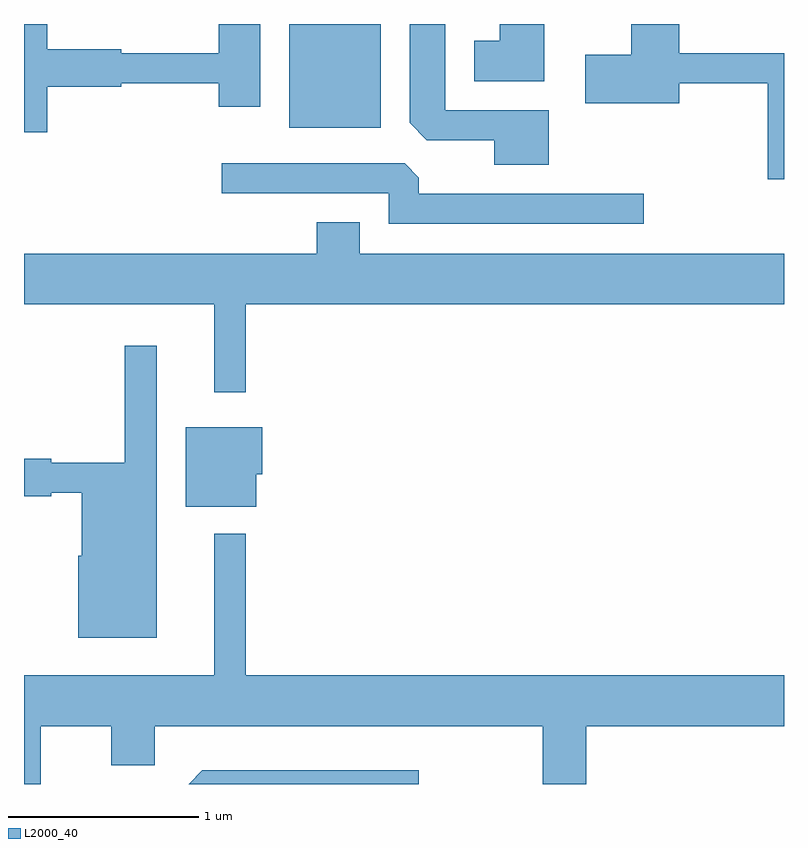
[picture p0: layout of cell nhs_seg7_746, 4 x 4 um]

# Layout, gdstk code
import gdstk
lib = gdstk.Library(unit=1e-6, precision=1e-09)
def R(c, l, rs):  # rectangles x0, y0, x1, y1
    for r in rs: c.add(gdstk.rectangle(r[:2], r[2:], *l))
def P(c, l, *ps):  # polygons
    for p in ps: c.add(gdstk.Polygon(p, *l))
L2000_40 = (2000, 40)

nhs_seg7_746 = lib.new_cell('nhs_seg7_746')
R(nhs_seg7_746, L2000_40, [(209.006,1699.706,209.489,1700.252)])
P(nhs_seg7_746, L2000_40, [(210.349,1700.252),(210.116,1700.252),(210.116,1700.164),(209.981,1700.164),(209.981,1699.951),(210.349,1699.951)],
  [(210.374,1699.799),(209.829,1699.799),(209.829,1700.252),(209.641,1700.252),(209.641,1699.732),(209.732,1699.641),(210.086,1699.641),(210.086,1699.511),(210.374,1699.511)],
  [(211.611,1700.099),(211.059,1700.099),(211.059,1700.252),(210.806,1700.252),(210.806,1700.089),(210.566,1700.089),(210.566,1699.836),(211.059,1699.836),(211.059,1699.941),(211.526,1699.941),(211.526,1699.436),(211.611,1699.436)],
  [(207.734,1699.921),(208.124,1699.921),(208.124,1699.941),(208.636,1699.941),(208.636,1699.816),(208.854,1699.816),(208.854,1700.252),(208.636,1700.252),(208.636,1700.099),(208.124,1700.099),(208.124,1700.119),(207.734,1700.119),(207.734,1700.252),(207.611,1700.252),(207.611,1699.681),(207.734,1699.681)],
  [(210.873,1699.359),(209.689,1699.359),(209.689,1699.444),(209.614,1699.519),(208.653,1699.519),(208.653,1699.361),(209.531,1699.361),(209.531,1699.201),(210.873,1699.201)],
  [(208.779,1698.776),(211.611,1698.776),(211.611,1699.044),(209.379,1699.044),(209.379,1699.209),(209.151,1699.209),(209.151,1699.044),(207.611,1699.044),(207.611,1698.776),(208.611,1698.776),(208.611,1698.313),(208.779,1698.313)],
  [(208.309,1698.558),(208.141,1698.558),(208.141,1697.944),(207.754,1697.944),(207.754,1697.964),(207.611,1697.964),(207.611,1697.766),(207.754,1697.766),(207.754,1697.786),(207.916,1697.786),(207.916,1697.454),(207.896,1697.454),(207.896,1697.021),(208.309,1697.021)],
  [(208.834,1697.881),(208.864,1697.881),(208.864,1698.129),(208.461,1698.129),(208.461,1697.711),(208.834,1697.711)],
  [(207.699,1696.556),(208.071,1696.556),(208.071,1696.351),(208.299,1696.351),(208.299,1696.556),(210.341,1696.556),(210.341,1696.252),(210.569,1696.252),(210.569,1696.556),(211.611,1696.556),(211.611,1696.824),(208.779,1696.824),(208.779,1697.568),(208.611,1697.568),(208.611,1696.824),(207.611,1696.824),(207.611,1696.252),(207.699,1696.252)],
  [(209.688,1696.324),(208.549,1696.324),(208.477,1696.252),(209.688,1696.252)])

lib.write_gds('nhs_seg7_746.gds')
